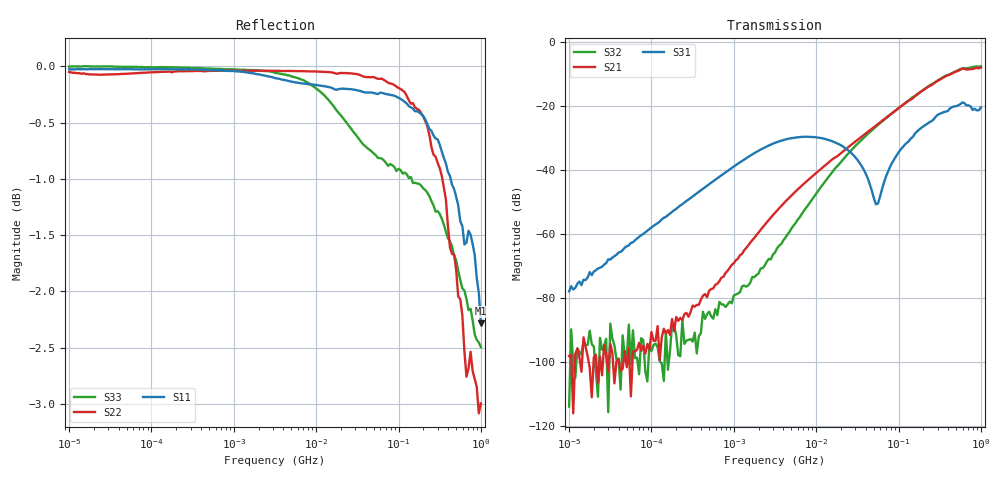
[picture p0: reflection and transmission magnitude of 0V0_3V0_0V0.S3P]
!Keysight Technologies,E5080A,MY55100144,A.11.70.03
!Date: Monday, November 13, 2017 17:24:45
!Correction: S11(Full 3 Port(1,2,3))
!S12(Full 3 Port(1,2,3))
!S13(Full 3 Port(1,2,3))
!S21(Full 3 Port(1,2,3))
!S22(Full 3 Port(1,2,3))
!S23(Full 3 Port(1,2,3))
!S31(Full 3 Port(1,2,3))
!S32(Full 3 Port(1,2,3))
!S33(Full 3 Port(1,2,3))
!S3P File: Measurements: <S11,S12,S13>,
!<S21,S22,S23>,
!<S31,S32,S33>:Log Frequency Sweep
# Hz S  RI  R 50
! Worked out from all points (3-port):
!   201 points, 10 kHz to 1 GHz, reference 50 ohm
!   strongest paths, dB at 10 kHz, 177.8 kHz, 3.162 MHz, 56.23 MHz, 1 GHz:
!     S31: -78.1, -53.2, -31.6, -50.6, -20.5
!     S21: -98.3, -86.7, -53.5, -25.7, -8.0
!     S32: -114.1, -88.4, -65.9, -26.0, -7.6
!   lowest |S11| = -2.3 dB at 1 GHz (marker M1), VSWR 7.65, Z = 382 - j0.524 ohm
!   |S11| at or under -10 dB: nowhere
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10000  0.9969 -0.00602  -2.09e-05 -1.1e-05  9.81e-06 0.000105
       8.77e-06 8.48e-06  0.4708 -0.8756  -1e-05 1.58e-06
       -3.52e-06 0.000125  -1.4e-06 1.39e-06  0.9997 -0.00252
50118.72  0.9966 -0.0298  -7.16e-06 -7.18e-06  9.79e-06 0.000622
          4.67e-06 6.69e-06  -0.7908 -0.5997  1.03e-05 9.61e-06
          3.04e-05 0.000636  -8.77e-06 -7.57e-06  0.9994 -0.00573
501187.2  0.953 -0.2903  -5.49e-05 7.94e-05  0.00122 0.00581
          -7.17e-05 0.000106  -0.9932 -0.0653  -1.05e-05 5.07e-05
          0.00123 0.00581  -3.74e-05 4.71e-05  0.9965 -0.0485
3162278  0.0567 -0.9864  -0.00115 0.00177  0.0208 0.0161
         -0.00113 0.0018  -0.9954 0.00461  -0.000388 0.000336
         0.021 0.0159  -0.000376 0.00034  0.9503 -0.2892
1.995262e7  -0.9418 -0.2611  -0.000685 0.0181  0.0198 -0.0137
            -0.000699 0.0181  -0.989 0.0921  -0.00772 0.0107
            0.0199 -0.0138  -0.00773 0.0107  0.0395 -0.9502
5.308844e7  -0.9713 0.0479  0.00834 0.0483  0.00292 -0.000192
            0.00843 0.0482  -0.9573 0.2451  -0.00579 0.0467
            0.00288 -0.000199  -0.00568 0.0468  -0.7371 -0.5386
1.059254e8  -0.9317 0.2597  0.038 0.0891  0.00816 0.0189
            0.0382 0.0891  -0.8599 0.4639  0.0237 0.0943
            0.00821 0.0189  0.0236 0.0943  -0.8947 -0.091
3.758374e8  -0.3686 0.8269  0.2898 0.0329  0.0809 -0.00619
            0.29 0.0328  0.0974 0.8674  0.2897 0.0573
            0.081 -0.00617  0.2894 0.0572  -0.487 0.6897
7.079458e8  0.4641 0.7063  0.1987 -0.3125  0.0118 -0.1014
            0.1984 -0.3127  0.6981 0.2269  0.2457 -0.3029
            0.0117 -0.1014  0.2459 -0.3027  0.2568 0.7356
1e9  0.7687 -0.00028  -0.1001 -0.3845  -0.0567 -0.0754
     -0.1007 -0.3844  0.5908 -0.3906  -0.0461 -0.4146
     -0.0568 -0.0753  -0.0458 -0.4144  0.6826 0.3112
